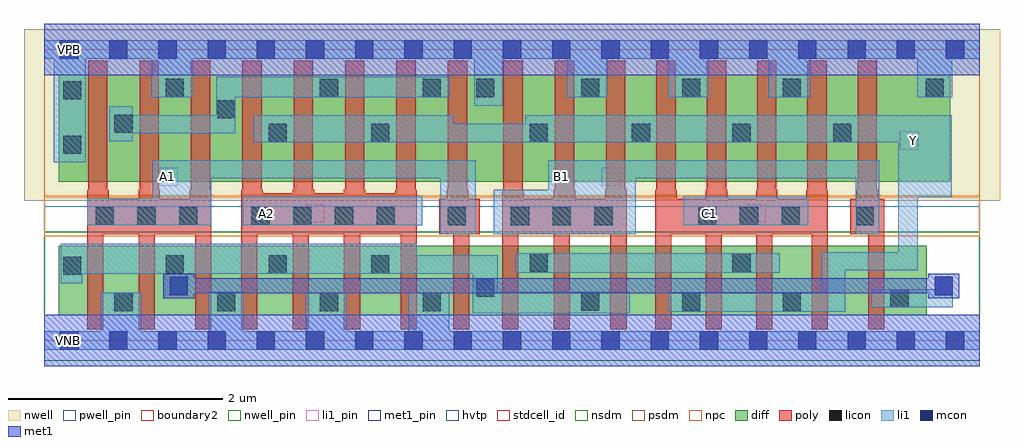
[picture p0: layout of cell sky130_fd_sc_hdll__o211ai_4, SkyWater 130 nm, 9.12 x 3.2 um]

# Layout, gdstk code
import gdstk
lib = gdstk.Library(unit=1e-6, precision=1e-09)
def R(c, l, rs):  # rectangles x0, y0, x1, y1
    for r in rs: c.add(gdstk.rectangle(r[:2], r[2:], *l))
def A(c, l, x, y, w, h, nx, ny, dx, dy):  # array of equal rectangles
    R(c, l, [(x+i*dx, y+j*dy, x+i*dx+w, y+j*dy+h) for i in range(nx) for j in range(ny)])
def P(c, l, *ps):  # polygons
    for p in ps: c.add(gdstk.Polygon(p, *l))
nwell_pin = (64, 16)
nwell = (64, 20)
diff = (65, 20)
poly = (66, 20)
licon = (66, 44)
li1_pin = (67, 16)
li1 = (67, 20)
mcon = (67, 44)
met1_pin = (68, 16)
met1 = (68, 20)
hvtp = (78, 44)
stdcell_id = (81, 4)
nsdm = (93, 44)
psdm = (94, 20)
npc = (95, 20)
pwell_pin = (122, 16)
boundary2 = (236, 0)

sky130_fd_sc_hdll__o211a = lib.new_cell('sky130_fd_sc_hdll__o211ai_4')
R(sky130_fd_sc_hdll__o211a, nwell_pin, [(0.15,2.635,0.32,2.805)])
R(sky130_fd_sc_hdll__o211a, nwell, [(-0.19,1.305,8.93,2.91)])
R(sky130_fd_sc_hdll__o211a, diff, [(0.135,0.235,8.245,0.885), (0.135,1.485,8.465,2.485)])
P(sky130_fd_sc_hdll__o211a, poly, [(1.56,1.41),(1.55,1.41),(1.55,2.615),(1.37,2.615),(1.37,1.41),(1.36,1.41),(1.36,1.325),(1.08,1.325),(1.08,1.41),(1.07,1.41),(1.07,2.615),(0.89,2.615),(0.89,1.41),(0.88,1.41),(0.88,1.325),(0.6,1.325),(0.6,1.41),(0.59,1.41),(0.59,2.615),(0.41,2.615),(0.41,1.41),(0.4,1.41),(0.4,0.105),(0.55,0.105),(0.55,0.995),(0.88,0.995),(0.88,0.105),(1.03,0.105),(1.03,0.995),(1.41,0.995),(1.41,0.105),(1.56,0.105)],
  [(3.48,1.41),(3.47,1.41),(3.47,2.615),(3.29,2.615),(3.29,1.41),(3.28,1.41),(3.28,1.375),(3,1.375),(3,1.41),(2.99,1.41),(2.99,2.615),(2.81,2.615),(2.81,1.41),(2.8,1.41),(2.8,1.375),(2.52,1.375),(2.52,1.41),(2.51,1.41),(2.51,2.615),(2.33,2.615),(2.33,1.41),(2.32,1.41),(2.32,1.375),(2.04,1.375),(2.04,1.41),(2.03,1.41),(2.03,2.615),(1.85,2.615),(1.85,1.41),(1.84,1.41),(1.84,0.105),(1.99,0.105),(1.99,0.995),(2.32,0.995),(2.32,0.105),(2.47,0.105),(2.47,0.995),(2.8,0.995),(2.8,0.105),(2.95,0.105),(2.95,0.995),(3.33,0.995),(3.33,0.105),(3.48,0.105)],
  [(4.07,1.325),(3.96,1.325),(3.96,1.41),(3.95,1.41),(3.95,2.615),(3.77,2.615),(3.77,1.41),(3.76,1.41),(3.76,1.325),(3.69,1.325),(3.69,0.995),(3.82,0.995),(3.82,0.105),(3.97,0.105),(3.97,0.995),(4.07,0.995)],
  [(5.44,1.41),(5.43,1.41),(5.43,2.615),(5.25,2.615),(5.25,1.41),(5.24,1.41),(5.24,1.325),(4.96,1.325),(4.96,1.41),(4.95,1.41),(4.95,2.615),(4.77,2.615),(4.77,1.41),(4.76,1.41),(4.76,1.325),(4.48,1.325),(4.48,1.41),(4.47,1.41),(4.47,2.615),(4.29,2.615),(4.29,1.41),(4.28,1.41),(4.28,0.105),(4.43,0.105),(4.43,0.995),(4.76,0.995),(4.76,0.105),(4.91,0.105),(4.91,0.995),(5.29,0.995),(5.29,0.105),(5.44,0.105)],
  [(7.32,1.41),(7.31,1.41),(7.31,2.615),(7.13,2.615),(7.13,1.41),(7.12,1.41),(7.12,1.325),(6.85,1.325),(6.85,1.41),(6.84,1.41),(6.84,2.615),(6.66,2.615),(6.66,1.41),(6.65,1.41),(6.65,1.325),(6.38,1.325),(6.38,1.41),(6.37,1.41),(6.37,2.615),(6.19,2.615),(6.19,1.41),(6.18,1.41),(6.18,1.325),(5.91,1.325),(5.91,1.41),(5.9,1.41),(5.9,2.615),(5.72,2.615),(5.72,1.41),(5.71,1.41),(5.71,0.105),(5.86,0.105),(5.86,0.995),(6.18,0.995),(6.18,0.105),(6.33,0.105),(6.33,0.995),(6.65,0.995),(6.65,0.105),(6.8,0.105),(6.8,0.995),(7.17,0.995),(7.17,0.105),(7.32,0.105)],
  [(7.85,1.325),(7.79,1.325),(7.79,1.41),(7.78,1.41),(7.78,2.615),(7.6,2.615),(7.6,1.41),(7.59,1.41),(7.59,1.325),(7.53,1.325),(7.53,0.995),(7.7,0.995),(7.7,0.105),(7.85,0.105)])
A(sky130_fd_sc_hdll__o211a, licon, 0.655, 0.275, 0.17, 0.17, 4, 1, 0.96, 0)
A(sky130_fd_sc_hdll__o211a, licon, 1.135, 0.625, 0.17, 0.17, 3, 1, 0.96, 0)
A(sky130_fd_sc_hdll__o211a, licon, 0.48, 1.075, 0.17, 0.17, 3, 1, 0.39, 0)
A(sky130_fd_sc_hdll__o211a, licon, 1.935, 1.075, 0.17, 0.17, 4, 1, 0.39, 0)
A(sky130_fd_sc_hdll__o211a, licon, 4.36, 1.075, 0.17, 0.17, 3, 1, 0.39, 0)
A(sky130_fd_sc_hdll__o211a, licon, 6.11, 1.075, 0.17, 0.17, 3, 1, 0.39, 0)
A(sky130_fd_sc_hdll__o211a, licon, 5.49, 1.855, 0.17, 0.17, 3, 1, 0.94, 0)
R(sky130_fd_sc_hdll__o211a, licon, [(5.015,0.28,5.185,0.45), (5.96,0.28,6.13,0.45), (6.9,0.28,7.07,0.45), (7.905,0.31,8.075,0.48), (4.035,0.41,4.205,0.58), (0.175,0.615,0.345,0.785), (6.43,0.64,6.6,0.81), (4.535,0.645,4.705,0.815), (3.77,1.075,3.94,1.245), (7.58,1.075,7.75,1.245), (0.175,1.745,0.345,1.915), (2.095,1.855,2.265,2.025), (3.055,1.855,3.225,2.025), (4.535,1.855,4.705,2.025), (0.655,1.94,0.825,2.11), (1.615,2.075,1.785,2.245), (0.175,2.255,0.345,2.425), (1.135,2.275,1.305,2.445), (2.575,2.275,2.745,2.445), (3.535,2.275,3.705,2.445), (4.035,2.275,4.205,2.445), (5.015,2.275,5.185,2.445), (5.96,2.275,6.13,2.445), (6.9,2.275,7.07,2.445), (8.235,2.275,8.405,2.445)])
R(sky130_fd_sc_hdll__o211a, li1_pin, [(2.445,1.105,2.615,1.275), (6.57,1.105,6.74,1.275), (1.075,1.445,1.245,1.615), (5.21,1.445,5.38,1.615), (7.995,1.785,8.165,1.955)])
R(sky130_fd_sc_hdll__o211a, li1, [(4.405,0.635,6.87,0.815), (1.855,1.075,3.53,1.345), (5.97,1.075,7.14,1.345)])
P(sky130_fd_sc_hdll__o211a, li1, [(8.74,0.085),(3.785,0.085),(3.785,0.445),(3.405,0.445),(3.405,0.085),(2.825,0.085),(2.825,0.445),(2.445,0.445),(2.445,0.085),(1.865,0.085),(1.865,0.455),(1.535,0.455),(1.535,0.085),(0.905,0.085),(0.905,0.445),(0.525,0.445),(0.525,0.085),(0,0.085),(0,-0.085),(8.74,-0.085)],
  [(8.74,2.805),(0,2.805),(0,2.635),(0.09,2.635),(0.09,1.665),(0.385,1.665),(0.385,2.635),(1.005,2.635),(1.005,2.275),(1.385,2.275),(1.385,2.635),(4.015,2.635),(4.015,2.195),(4.285,2.195),(4.285,2.635),(4.885,2.635),(4.885,2.275),(5.265,2.275),(5.265,2.635),(5.83,2.635),(5.83,2.275),(6.21,2.275),(6.21,2.635),(6.77,2.635),(6.77,2.275),(7.155,2.275),(7.155,2.635),(8.155,2.635),(8.155,2.275),(8.485,2.275),(8.485,2.635),(8.74,2.635)],
  [(8.49,0.595),(8.32,0.595),(8.32,0.48),(7.73,0.48),(7.73,0.31),(8.49,0.31)],
  [(8.48,2.105),(4.495,2.105),(4.495,2.025),(3.82,2.025),(3.82,2.105),(1.955,2.105),(1.955,1.855),(7.98,1.855),(7.98,0.825),(7.265,0.825),(7.265,0.45),(5.83,0.45),(5.83,0.27),(7.485,0.27),(7.485,0.655),(8.16,0.655),(8.16,1.34),(8.48,1.34)],
  [(3.785,2.465),(1.605,2.465),(1.605,2.105),(0.825,2.105),(0.825,2.19),(0.605,2.19),(0.605,1.86),(0.825,1.86),(0.825,1.935),(1.785,1.935),(1.785,2.275),(3.785,2.275)],
  [(7.8,1.685),(4.71,1.685),(4.71,1.41),(4.2,1.41),(4.2,0.995),(5.525,0.995),(5.525,1.515),(7.58,1.515),(7.58,0.995),(7.8,0.995)],
  [(5.47,0.455),(4.235,0.455),(4.235,0.795),(3.48,0.795),(3.48,0.905),(0.155,0.905),(0.155,0.535),(0.355,0.535),(0.355,0.625),(1.125,0.625),(1.125,0.425),(1.34,0.425),(1.34,0.625),(4.005,0.625),(4.005,0.255),(5.47,0.255)],
  [(4.03,1.685),(1.015,1.685),(1.015,1.33),(0.4,1.33),(0.4,1.075),(1.56,1.075),(1.56,1.515),(3.7,1.515),(3.7,0.995),(4.03,0.995)])
A(sky130_fd_sc_hdll__o211a, mcon, 0.145, -0.085, 0.17, 0.17, 19, 2, 0.46, 2.72)
R(sky130_fd_sc_hdll__o211a, mcon, [(1.17,0.425,1.34,0.595), (8.32,0.425,8.49,0.595)])
R(sky130_fd_sc_hdll__o211a, met1_pin, [(0.15,-0.085,0.32,0.085), (0.15,2.635,0.32,2.805)])
R(sky130_fd_sc_hdll__o211a, met1, [(0,-0.24,8.74,0.24), (0,2.48,8.74,2.96)])
P(sky130_fd_sc_hdll__o211a, met1, [(8.55,0.625),(8.26,0.625),(8.26,0.58),(1.4,0.58),(1.4,0.625),(1.11,0.625),(1.11,0.395),(1.4,0.395),(1.4,0.44),(8.26,0.44),(8.26,0.395),(8.55,0.395)])
R(sky130_fd_sc_hdll__o211a, hvtp, [(0,1.25,8.74,2.72)])
R(sky130_fd_sc_hdll__o211a, stdcell_id, [(0,0,8.74,2.72)])
R(sky130_fd_sc_hdll__o211a, nsdm, [(0,-0.19,8.74,1.015)])
R(sky130_fd_sc_hdll__o211a, psdm, [(0,1.355,8.74,2.91)])
R(sky130_fd_sc_hdll__o211a, npc, [(0,0.975,8.74,1.345)])
R(sky130_fd_sc_hdll__o211a, pwell_pin, [(0.15,-0.085,0.32,0.085)])
R(sky130_fd_sc_hdll__o211a, boundary2, [(0,0,8.74,2.72)])
sky130_fd_sc_hdll__o211a.add(gdstk.Label('A1', (1.155,1.53), layer=67, texttype=5))
sky130_fd_sc_hdll__o211a.add(gdstk.Label('B1', (4.835,1.53), layer=67, texttype=5))
sky130_fd_sc_hdll__o211a.add(gdstk.Label('A2', (2.075,1.19), layer=67, texttype=5))
sky130_fd_sc_hdll__o211a.add(gdstk.Label('C1', (6.215,1.19), layer=67, texttype=5))
sky130_fd_sc_hdll__o211a.add(gdstk.Label('Y', (8.125,1.87), layer=67, texttype=5))
sky130_fd_sc_hdll__o211a.add(gdstk.Label('VNB', (0.23,0), layer=64, texttype=59))
sky130_fd_sc_hdll__o211a.add(gdstk.Label('VPB', (0.235,2.72), layer=64, texttype=5))
sky130_fd_sc_hdll__o211a.add(gdstk.Label('VGND', (0.23,0), layer=68, texttype=5))
sky130_fd_sc_hdll__o211a.add(gdstk.Label('VPWR', (0.23,2.72), layer=68, texttype=5))
sky130_fd_sc_hdll__o211a.add(gdstk.Label('o211ai_4', (0,0), layer=83, texttype=44))

lib.write_gds('sky130_fd_sc_hdll__o211ai_4.gds')
